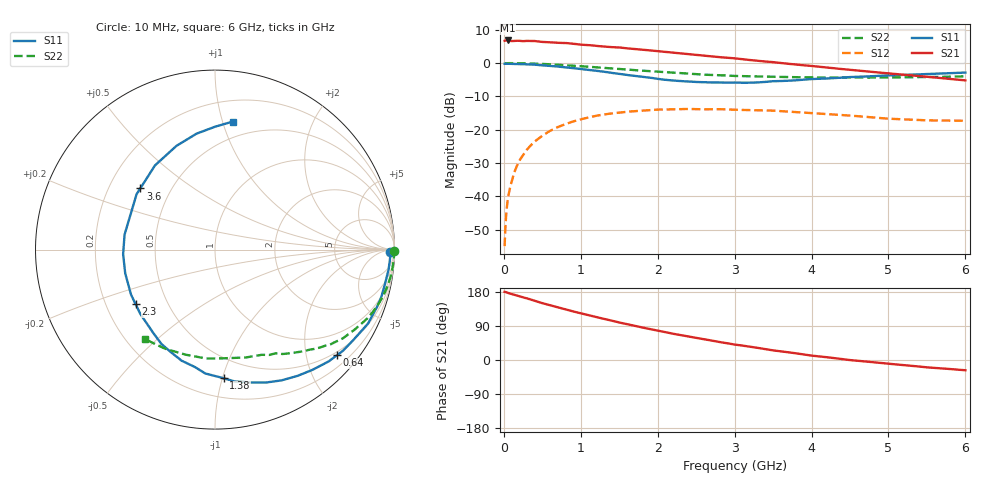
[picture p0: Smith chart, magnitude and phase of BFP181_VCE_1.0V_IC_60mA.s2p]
! Infineon Technologies  Discrete & RF Semiconductors
! BFP181
! VCE = 1.0 V,  IC =  60 mA
! Common Emitter S-Parameters:  Jan 2016
# GHz  S  MA  R  50
!  f  S11  S21  S12  S22
! GHz  MAG  ANG  MAG  ANG  MAG  ANG  MAG  ANG
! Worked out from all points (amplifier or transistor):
!   210 points, 10 MHz to 6 GHz, reference 50 ohm
!   highest |S21| = 6.8 dB at 50 MHz (marker M1)
!   |S21| within 3 dB of that: start of sweep to 1.917 GHz
!   unconditionally stable (mu >= 1): 3.342 GHz to end of sweep
!   at 185 MHz: K = 0.07, MSG = 18.4 dB, |S12| = -30.1 dB
!   at 1.52 GHz: K = 0.50, MSG = 9.7 dB, |S12| = -14.8 dB
!   at 6 GHz: K = 1.50, MAG = 1.9 dB, |S12| = -17.3 dB
!   S11 on the Smith chart (normalised r, x): 10 MHz: 57, -35; 640 MHz: 0.43, -2.63; 1.38 GHz: 0.34, -1.01; 2.3 GHz: 0.33, -0.28; 3.6 GHz: 0.33, +0.32; 6 GHz: 0.36, +1.08
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0.01  0.9749 -0.9  2.155 179.7  0.0018 90.0  0.9992 -0.3
0.025  0.9778 -1.3  2.177 179.2  0.0043 89.9  0.9928 -0.8
0.05  0.977 -3.0  2.182 177.1  0.0088 89.0  0.9977 -1.6
0.08  0.9743 -5.2  2.154 175.4  0.0135 86.6  0.9975 -2.6
0.125  0.9707 -8.2  2.148 172.6  0.021 84.0  0.9961 -4.0
0.22  0.964 -14.1  2.144 166.7  0.0371 80.0  0.9925 -7.0
0.4  0.947 -25.8  2.141 156.0  0.0663 72.0  0.9801 -12.8
0.64  0.8993 -40.8  2.038 142.4  0.1015 61.4  0.9529 -19.9
0.8  0.8626 -50.9  2.002 133.6  0.1215 54.9  0.9306 -24.4
1.02  0.812 -64.2  1.883 122.2  0.1452 46.2  0.8944 -30.2
1.1  0.7933 -69.0  1.866 117.9  0.1532 43.3  0.8816 -32.1
1.38  0.7188 -86.1  1.74 104.9  0.1746 33.6  0.8367 -38.7
1.5  0.6926 -94.4  1.718 99.0  0.181 30.0  0.8148 -41.0
1.7  0.6463 -106.7  1.63 90.3  0.19 24.2  0.7824 -45.0
2.02  0.5758 -127.2  1.498 76.7  0.2007 16.3  0.7405 -50.3
2.3  0.5368 -145.4  1.394 65.7  0.2038 9.4  0.7055 -55.2
2.76  0.5117 -174.8  1.24 49.1  0.2035 0.4  0.6616 -62.2
3.1  0.507 165.3  1.143 38.1  0.1983 -5.6  0.637 -67.7
3.6  0.538 140.7  1.002 22.9  0.1904 -12.2  0.6203 -76.0
4.1  0.5808 122.3  0.88 9.5  0.175 -17.6  0.6072 -86.0
5.1  0.6591 97.1  0.683 -11.7  0.1449 -20.7  0.6081 -107.8
6  0.7201 82.1  0.55 -27.1  0.1364 -15.2  0.6336 -128.1
